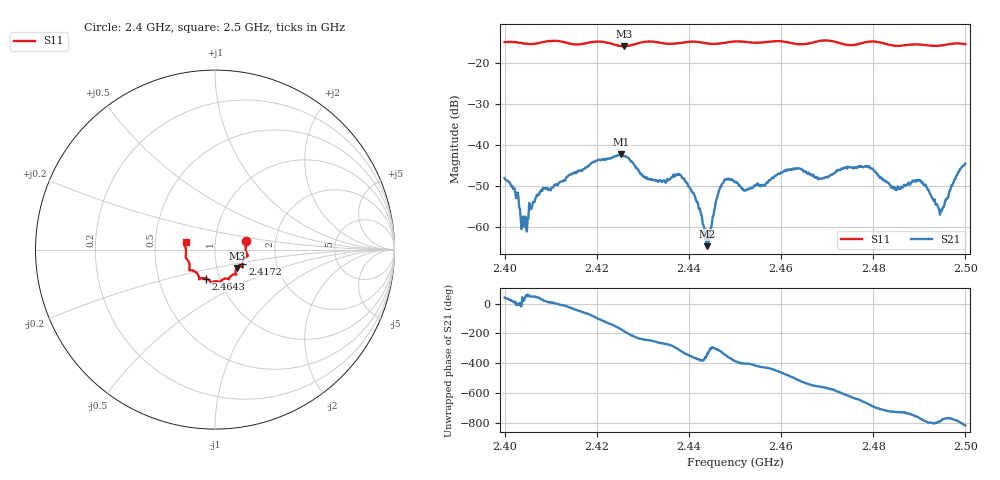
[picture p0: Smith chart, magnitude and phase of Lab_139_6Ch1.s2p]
# Hz S RI R 50
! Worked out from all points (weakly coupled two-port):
!   601 points, 2.4 GHz to 2.5 GHz, reference 50 ohm
!   highest |S21| = -42.26 dB at 2.4253 GHz (marker M1); lowest = -64.6 dB at 2.444 GHz (marker M2)
!   lowest |S11| = -15.9 dB at 2.4258 GHz (marker M3), VSWR 1.38, Z = 62.3 - j13.2 ohm
!   |S11| at or under -10 dB: start of sweep to end of sweep
!   S12 and S22 are empty: the file has one direction only
!   S11 on the Smith chart (normalised r, x): 2.4 GHz: 1.41, +0.14; 2.4172 GHz: 1.34, -0.22; 2.4643 GHz: 0.86, -0.29; 2.5 GHz: 0.72, +0.06
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2.4e9  0.1727 0.0486  0.00306 0.00253  0 0  0 0
2.4025e9  0.1761 0.0381  0.00221 -0.000435  0 0  0 0
2.404667e9  0.1711 0.0176  0.000553 0.000788  0 0  0 0
2.408167e9  0.1777 -0.0218  0.00245 0.0013  0 0  0 0
2.416667e9  0.1529 -0.0739  0.00286 -0.00408  0 0  0 0
2.417167e9  0.1522 -0.0796  0.00254 -0.00442  0 0  0 0
2.425333e9  0.1252 -0.0998  -0.00768 -0.000739  0 0  0 0
2.425833e9  0.1216 -0.1033  -0.00731 0.000404  0 0  0 0
2.433333e9  0.1133 -0.1373  -0.000572 0.00352  0 0  0 0
2.4385e9  0.0811 -0.1569  0.00321 0.0024  0 0  0 0
2.4415e9  0.0759 -0.165  0.00215 -0.000229  0 0  0 0
2.444e9  0.0633 -0.161  0.000519 0.000274  0 0  0 0
2.446833e9  0.042 -0.168  0.00234 0.00205  0 0  0 0
2.45e9  0.0287 -0.1808  0.00319 -0.00157  0 0  0 0
2.4525e9  0.0202 -0.179  0.00205 -0.00195  0 0  0 0
2.464333e9  -0.05 -0.1611  -0.00489 -0.00153  0 0  0 0
2.466667e9  -0.0759 -0.1594  -0.00424 0.000634  0 0  0 0
2.478667e9  -0.1393 -0.1152  0.00357 0.00426  0 0  0 0
2.483333e9  -0.1411 -0.0902  0.00344 -0.000138  0 0  0 0
2.490167e9  -0.1632 -0.0393  0.00233 -0.00293  0 0  0 0
2.494667e9  -0.1629 0.00598  0.000641 -0.0015  0 0  0 0
2.5e9  -0.1639 0.0432  -0.000821 -0.0059  0 0  0 0
